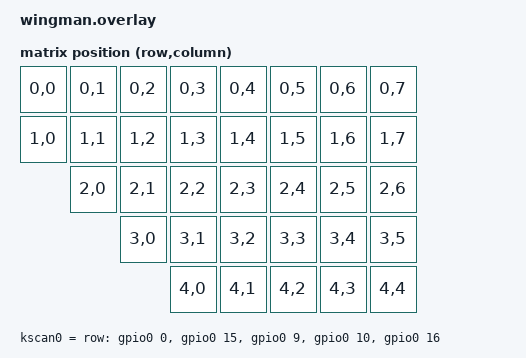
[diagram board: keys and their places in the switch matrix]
#include <dt-bindings/zmk/matrix_transform.h>

/ {
    chosen = {
        zmk,kscan = &kscan0;
        zmk,matrix-transform = &default_transform;
    };

    backlight0: backlight {
        compatible = "zmk,led-sk6812";
        pin = <&gpio0 20 GPIO_ACTIVE_HIGH>;
        label = "BACKLIGHT";
        chain-length = <34>;
        #address-cells = <1>;
        #size-cells = <0>;
    };

    kscan0 = {
        compatible = "zmk,kscan-gpio-matrix";
        diode-direction = "col2row";
        row-gpios = <&gpio0 0  (GPIO_ACTIVE_HIGH | GPIO_PULL_DOWN)>,
                    <&gpio0 15 (GPIO_ACTIVE_HIGH | GPIO_PULL_DOWN)>,
                    <&gpio0 9  (GPIO_ACTIVE_HIGH | GPIO_PULL_DOWN)>,
                    <&gpio0 10 (GPIO_ACTIVE_HIGH | GPIO_PULL_DOWN)>,
                    <&gpio0 16 (GPIO_ACTIVE_HIGH | GPIO_PULL_DOWN)>;

        col-gpios = <&gpio0 1  GPIO_ACTIVE_HIGH>,
                    <&gpio0 2  GPIO_ACTIVE_HIGH>,
                    <&gpio0 3  GPIO_ACTIVE_HIGH>,
                    <&gpio0 18 GPIO_ACTIVE_HIGH>,
                    <&gpio0 4  GPIO_ACTIVE_HIGH>,
                    <&gpio0 14 GPIO_ACTIVE_HIGH>,
                    <&gpio0 8  GPIO_ACTIVE_HIGH>,
                    <&gpio0 19 GPIO_ACTIVE_HIGH>,
    };

    // | CAPS | DEL  | ESC  |  1  |  2  |  3  |  4  |  5  |             |  6  |  7   |  8  |  9  |  0  |  '  |  ¡  | BSPC |
    // |  SS  | NONE | TAB  |  Q  |  W  |  E  |  R  |  T  |             |  Y  |  U   |  I  |  O  |  P  |  `  |  +  | ENT  |
    //        | NONE | <    |  A  |  S  |  D  |  F  |  G  |             |  H  |  J   |  K  |  L  |  Ñ  |  ´  |  Ç  |
    //               | SHFT |  Z  |  X  |  C  |  V  |  B  |             |  N  |  M   |  ,  |  .  |  -  |  \  |
    //                      | CTRL| LWR | GUI | ENT | ALT |             | ALT | SPC  | CTRL| HOME| END |
    default_transform = {
        compatible = "zmk,matrix-transform";
        rows = <5>;
        cols = <8>;
        map = <
            RC(0, 0) RC(0, 1) RC(0, 2) RC(0, 3) RC(0, 4) RC(0, 5) RC(0, 6) RC(0, 7)
            RC(1, 0) RC(1, 1) RC(1, 2) RC(1, 3) RC(1, 4) RC(1, 5) RC(1, 6) RC(1, 7)
                     RC(2, 0) RC(2, 1) RC(2, 2) RC(2, 3) RC(2, 4) RC(2, 5) RC(2, 6)
                              RC(3, 0) RC(3, 1) RC(3, 2) RC(3, 3) RC(3, 4) RC(3, 5)
                                       RC(4, 0) RC(4, 1) RC(4, 2) RC(4, 3) RC(4, 4)
        >;
    };
};
